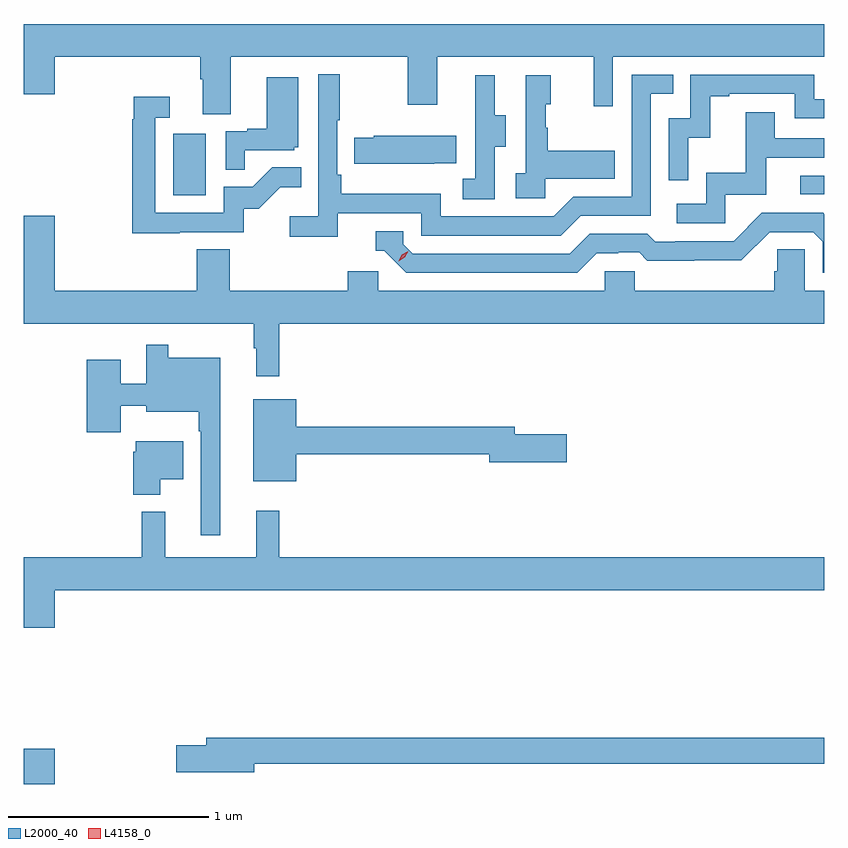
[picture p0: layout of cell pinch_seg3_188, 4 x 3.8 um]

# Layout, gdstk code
import gdstk
lib = gdstk.Library(unit=1e-6, precision=1e-09)
def R(c, l, rs):  # rectangles x0, y0, x1, y1
    for r in rs: c.add(gdstk.rectangle(r[:2], r[2:], *l))
def P(c, l, *ps):  # polygons
    for p in ps: c.add(gdstk.Polygon(p, *l))
L2000_40 = (2000, 40)
L4158_0 = (4158, 0)

pinch_seg3_188 = lib.new_cell('pinch_seg3_188')
R(pinch_seg3_188, L2000_40, [(956.225,730.584,956.38,730.759), (956.972,733.524,957.136,733.831), (960.105,733.53,960.225,733.623)])
P(pinch_seg3_188, L2000_40, [(956.225,734.028),(956.38,734.028),(956.38,734.216),(957.107,734.216),(957.107,734.104),(957.119,734.104),(957.119,733.93),(957.259,733.93),(957.259,734.216),(958.144,734.216),(958.144,733.977),(958.291,733.977),(958.291,734.216),(959.072,734.216),(959.072,733.968),(959.169,733.968),(959.169,734.216),(960.225,734.216),(960.225,734.38),(956.225,734.38)],
  [(957.794,733.434),(958.212,733.434),(958.212,733.323),(958.909,733.323),(959.008,733.422),(959.358,733.422),(959.358,734.031),(959.471,734.031),(959.471,734.127),(959.262,734.127),(959.262,733.518),(958.971,733.518),(958.872,733.419),(958.308,733.419),(958.308,733.531),(957.812,733.531),(957.812,733.627),(957.792,733.627),(957.792,733.9),(957.805,733.9),(957.805,734.128),(957.696,734.128),(957.696,733.42),(957.555,733.42),(957.555,733.318),(957.794,733.318)],
  [(959.544,733.811),(959.654,733.811),(959.654,734.019),(959.749,734.019),(959.749,734.031),(960.078,734.031),(960.078,733.908),(960.225,733.908),(960.225,734.004),(960.174,734.004),(960.174,734.127),(959.556,734.127),(959.556,733.908),(959.448,733.908),(959.448,733.599),(959.544,733.599)],
  [(958.83,733.607),(959.177,733.607),(959.177,733.747),(958.843,733.747),(958.843,733.862),(958.833,733.862),(958.833,733.98),(958.858,733.98),(958.858,734.125),(958.734,734.125),(958.734,733.634),(958.683,733.634),(958.683,733.509),(958.83,733.509)],
  [(958.578,733.768),(958.633,733.768),(958.633,733.923),(958.579,733.923),(958.579,734.125),(958.481,734.125),(958.481,733.911),(958.482,733.911),(958.482,733.607),(958.419,733.607),(958.419,733.504),(958.578,733.504)],
  [(957.329,733.749),(957.576,733.749),(957.576,733.764),(957.598,733.764),(957.598,734.113),(957.44,734.113),(957.44,733.858),(957.341,733.858),(957.341,733.845),(957.234,733.845),(957.234,733.651),(957.329,733.651)],
  [(957.005,733.341),(957.324,733.341),(957.324,733.458),(957.4,733.458),(957.507,733.565),(957.611,733.565),(957.611,733.664),(957.467,733.664),(957.369,733.566),(957.225,733.566),(957.225,733.437),(956.883,733.437),(956.883,733.911),(956.956,733.911),(956.956,734.017),(956.775,734.017),(956.775,733.904),(956.767,733.904),(956.767,733.336),(957.005,733.336)],
  [(959.73,733.527),(959.935,733.527),(959.935,733.713),(960.225,733.713),(960.225,733.809),(959.977,733.809),(959.977,733.939),(959.833,733.939),(959.833,733.636),(959.634,733.636),(959.634,733.482),(959.487,733.482),(959.487,733.386),(959.73,733.386)],
  [(958.277,733.685),(958.385,733.685),(958.385,733.822),(957.975,733.822),(957.975,733.812),(957.877,733.812),(957.877,733.682),(958.277,733.682)],
  [(959.089,733.236),(959.196,733.236),(959.196,733.239),(959.299,733.239),(959.341,733.197),(959.574,733.197),(959.574,733.199),(959.81,733.199),(959.952,733.341),(960.168,733.341),(960.216,733.293),(960.216,733.137),(960.225,733.137),(960.225,733.431),(960.219,733.437),(959.913,733.437),(959.772,733.296),(959.479,733.296),(959.479,733.293),(959.38,733.293),(959.341,733.332),(959.052,733.332),(958.953,733.233),(958.17,733.233),(958.122,733.281),(958.122,733.344),(957.983,733.344),(957.983,733.248),(958.026,733.248),(958.137,733.137),(958.99,733.137)],
  [(957.503,732.884),(960.225,732.884),(960.225,733.048),(960.126,733.048),(960.126,733.256),(959.989,733.256),(959.989,733.146),(959.975,733.146),(959.975,733.048),(959.277,733.048),(959.277,733.146),(959.127,733.146),(959.127,733.048),(957.996,733.048),(957.996,733.146),(957.845,733.146),(957.845,733.048),(957.254,733.048),(957.254,733.256),(957.089,733.256),(957.089,733.048),(956.38,733.048),(956.38,733.423),(956.225,733.423),(956.225,732.884),(957.375,732.884),(957.375,732.761),(957.386,732.761),(957.386,732.621),(957.503,732.621)],
  [(957.208,732.712),(956.947,732.712),(956.947,732.778),(956.838,732.778),(956.838,732.583),(956.71,732.583),(956.71,732.703),(956.54,732.703),(956.54,732.342),(956.71,732.342),(956.71,732.473),(956.837,732.473),(956.837,732.443),(957.099,732.443),(957.099,732.347),(957.111,732.347),(957.111,731.826),(957.208,731.826)],
  [(957.586,732.232),(958.55,732.232),(958.55,732.19),(958.939,732.19),(958.939,732.332),(958.678,732.332),(958.678,732.368),(957.586,732.368),(957.586,732.505),(957.371,732.505),(957.371,732.095),(957.586,732.095)],
  [(956.908,732.107),(957.022,732.107),(957.022,732.295),(956.786,732.295),(956.786,732.243),(956.774,732.243),(956.774,732.029),(956.908,732.029)],
  [(956.38,731.552),(960.225,731.552),(960.225,731.716),(957.503,731.716),(957.503,731.95),(957.386,731.95),(957.386,731.716),(956.933,731.716),(956.933,731.944),(956.815,731.944),(956.815,731.716),(956.225,731.716),(956.225,731.364),(956.38,731.364)],
  [(957.376,730.686),(960.225,730.686),(960.225,730.814),(957.137,730.814),(957.137,730.778),(956.988,730.778),(956.988,730.643),(957.376,730.643)])
P(pinch_seg3_188, L4158_0, [(958.099,733.195),(958.099,733.195),(958.115,733.228),(958.146,733.246),(958.146,733.246),(958.146,733.246),(958.13,733.214),(958.099,733.195)])

lib.write_gds('pinch_seg3_188.gds')
